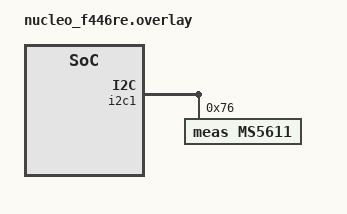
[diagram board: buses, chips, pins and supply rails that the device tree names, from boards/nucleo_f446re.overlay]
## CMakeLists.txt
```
# SPDX-License-Identifier: Apache-2.0

cmake_minimum_required(VERSION 3.20.0)
find_package(Zephyr REQUIRED HINTS $ENV{ZEPHYR_BASE})
project(ms56xx)

target_sources(app PRIVATE src/main.c)
```

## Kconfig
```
# Copyright (c) 2024 MS56XX Driver Sample Author
# SPDX-License-Identifier: Apache-2.0

source "Kconfig.zephyr"

config APP_MS56XX_OVERSAMPLING_RATE
	int "MS56XX oversampling rate"
	default 4096
	help
	  MS56XX sensor oversampling rate. Higher rates provide more accurate
	  readings but require more time to sample. Valid values are 256, 512,
	  1024, 2048, and 4096.
```

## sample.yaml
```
sample:
  name: MS56xx Sensor Sample
  description: Demonstration of the MS5607/MS5611 Pressure and Temperature sensor driver
tests:
  sample.sensor.ms56xx:
    harness: sensor
    tags: sensors
    depends_on:
      - i2c
      - gpio
    platform_allow: nucleo_f446re
```

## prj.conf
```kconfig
# Enable MS56XX pressure sensor
CONFIG_SENSOR=y
CONFIG_MS56XX=y

# Enable I2C (update if using SPI)
CONFIG_I2C=y

# Optional: Enable higher logging level for debugging
CONFIG_SENSOR_LOG_LEVEL_DBG=y

# Console and printing
CONFIG_STDOUT_CONSOLE=y
CONFIG_CBPRINTF_FP_SUPPORT=y

# Use default 4096 oversampling or override with Kconfig
CONFIG_MS56XX_PRES_OVER_4096X=y
CONFIG_MS56XX_TEMP_OVER_4096X=y
CONFIG_SHELL=y
CONFIG_UART_SHELL=y
CONFIG_I2C_SHELL=y
```

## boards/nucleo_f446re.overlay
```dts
/*
 * Copyright (c) 2025 Aaron Chan
 *
 * SPDX-License-Identifier: Apache-2.0
 */

&i2c1 {
	status = "okay";

	ms5611: ms5611@76 {
		compatible = "meas,ms5611";
		reg = <0x76>;
	};

	/* Uncomment to use MS5607 instead */
	/*
	ms5607: ms5607@76 {
		compatible = "meas,ms5607";
		reg = <0x76>;
		status = "disabled";
	};
	*/
};

/* Using ms5611 as the default pressure sensor */
/ {
	aliases {
		pressure-sensor = &ms5611;
	};
};
```

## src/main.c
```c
/*
 * Copyright (c) 2025 Aaron Chan
 *
 * SPDX-License-Identifier: Apache-2.0
 */

#include <zephyr/kernel.h>
#include <zephyr/device.h>
#include <zephyr/drivers/sensor.h>
#include <zephyr/sys/printk.h>
#include <zephyr/sys/__assert.h>

static void process_sample(const struct device *dev)
{
	struct sensor_value temp, press;
	static int sample_count;

	if (sensor_sample_fetch(dev) < 0) {
		printk("Sensor sample update error\n");
		return;
	}

	if (sensor_channel_get(dev, SENSOR_CHAN_AMBIENT_TEMP, &temp) < 0) {
		printk("Cannot read MS56XX temperature channel\n");
		return;
	}

	if (sensor_channel_get(dev, SENSOR_CHAN_PRESS, &press) < 0) {
		printk("Cannot read MS56XX pressure channel\n");
		return;
	}

	++sample_count;
	printk("Sample %d:\n", sample_count);
	printk("  Temperature: %.2f C\n", sensor_value_to_double(&temp));
	printk("  Pressure: %.2f kPa\n", sensor_value_to_double(&press));
}

int main(void)
{
	const struct device *const dev = DEVICE_DT_GET(DT_ALIAS(pressure_sensor));
	const char *sensor_name;

	if (!device_is_ready(dev)) {
		printk("MS56XX sensor device not ready\n");
		return 0;
	}

	/* Determine which sensor is connected based on compatible string */
	if (DT_NODE_HAS_COMPAT(DT_ALIAS(pressure_sensor), meas_ms5607)) {
		sensor_name = "MS5607";
	} else if (DT_NODE_HAS_COMPAT(DT_ALIAS(pressure_sensor), meas_ms5611)) {
		sensor_name = "MS5611";
	} else {
		sensor_name = "MS56XX (unknown)";
	}

	printk("%s sensor device ready\n", sensor_name);

	while (1) {
		process_sample(dev);
		k_sleep(K_MSEC(2000));
	}
	return 0;
}
```
